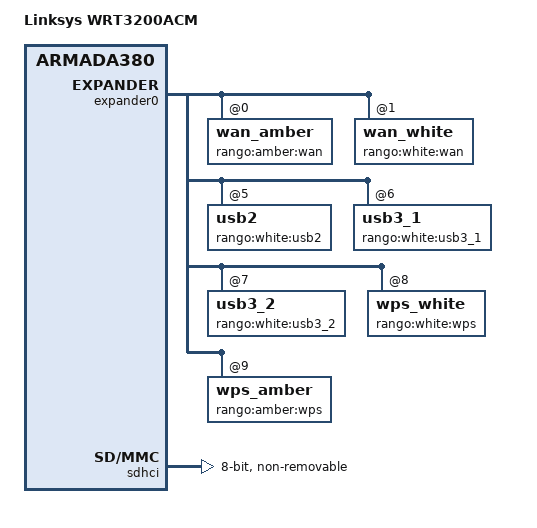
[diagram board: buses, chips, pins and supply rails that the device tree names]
// SPDX-License-Identifier: (GPL-2.0 OR MIT)
/*
 * Device Tree file for the Linksys WRT3200ACM (Rango)
 *
 * Copyright (C) 2016 Imre Kaloz <kaloz@openwrt.org>
 */

/dts-v1/;
#include <dt-bindings/gpio/gpio.h>
#include <dt-bindings/input/input.h>
#include "armada-385-linksys.dtsi"

/ {
	model = "Linksys WRT3200ACM";
	compatible = "linksys,rango", "linksys,armada385", "marvell,armada385",
		     "marvell,armada380";
};

&expander0 {
	wan_amber@0 {
		label = "rango:amber:wan";
		reg = <0x0>;
	};

	wan_white@1 {
		label = "rango:white:wan";
		reg = <0x1>;
	};

	usb2@5 {
		label = "rango:white:usb2";
		reg = <0x5>;
	};

	usb3_1@6 {
		label = "rango:white:usb3_1";
		reg = <0x6>;
	};

	usb3_2@7 {
		label = "rango:white:usb3_2";
		reg = <0x7>;
	};

	wps_white@8 {
		label = "rango:white:wps";
		reg = <0x8>;
	};

	wps_amber@9 {
		label = "rango:amber:wps";
		reg = <0x9>;
	};
};

&gpio_leds {
	power {
		gpios = <&gpio1 24 GPIO_ACTIVE_HIGH>;
		label = "rango:white:power";
	};

	sata {
		gpios = <&gpio0 21 GPIO_ACTIVE_LOW>;
		label = "rango:white:sata";
	};

	wlan_2g {
		gpios = <&gpio1 13 GPIO_ACTIVE_LOW>;
		label = "rango:white:wlan_2g";
	};

	wlan_5g {
		gpios = <&gpio1 14 GPIO_ACTIVE_LOW>;
		label = "rango:white:wlan_5g";
	};
};

&gpio_leds_pins {
	marvell,pins = "mpp21", "mpp45", "mpp46", "mpp56";
};

&nand {
	/* AMD/Spansion S34ML02G2 256MiB, OEM Layout */

	partition@0 {
		label = "u-boot";
		reg = <0x0000000 0x200000>;  /* 2MiB */
		read-only;
	};

	partition@200000 {
		label = "u_env";
		reg = <0x200000 0x20000>;    /* 128KiB */
	};

	partition@220000 {
		label = "s_env";
		reg = <0x220000 0x40000>;    /* 256KiB */
	};

	partition@7e0000 {
		label = "devinfo";
		reg = <0x7e0000 0x40000>;   /* 256KiB */
		read-only;
	};

	partition@820000 {
		label = "sysdiag";
		reg = <0x820000 0x1e0000>;   /* 1920KiB */
		read-only;
	};

	/* kernel1 overlaps with rootfs1 by design */
	partition@a00000 {
		label = "kernel1";
		reg = <0xa00000 0x5000000>;  /* 80MiB */
	};

	partition@1000000 {
		label = "rootfs1";
		reg = <0x1000000 0x4a00000>;  /* 74MiB */
	};

	/* kernel2 overlaps with rootfs2 by design */
	partition@5a00000 {
		label = "kernel2";
		reg = <0x5a00000 0x5000000>; /* 80MiB */
	};

	partition@6000000 {
		label = "rootfs2";
		reg = <0x6000000 0x4a00000>; /* 74MiB */
	};

	/*
	 * 86MiB, last MiB is for the BBT, not writable
	 */
	partition@aa00000 {
		label = "syscfg";
		reg = <0xaa00000 0x5600000>;
	};

	/*
	 * Unused area between "s_env" and "devinfo".
	 * Moved here because otherwise the renumbered
	 * partitions would break the bootloader
	 * supplied bootargs
	 */
	partition@180000 {
		label = "unused_area";
		reg = <0x260000 0x5c0000>;   /* 5.75MiB */
	};
};

&sdhci {
	pinctrl-names = "default";
	pinctrl-0 = <&sdhci_pins>;
	no-1-8-v;
	non-removable;
	wp-inverted;
	bus-width = <8>;
	status = "okay";
};

&usb3_1_vbus {
	gpio = <&gpio1 12 GPIO_ACTIVE_HIGH>;
};

&usb3_1_vbus_pins {
	marvell,pins = "mpp44";
};
